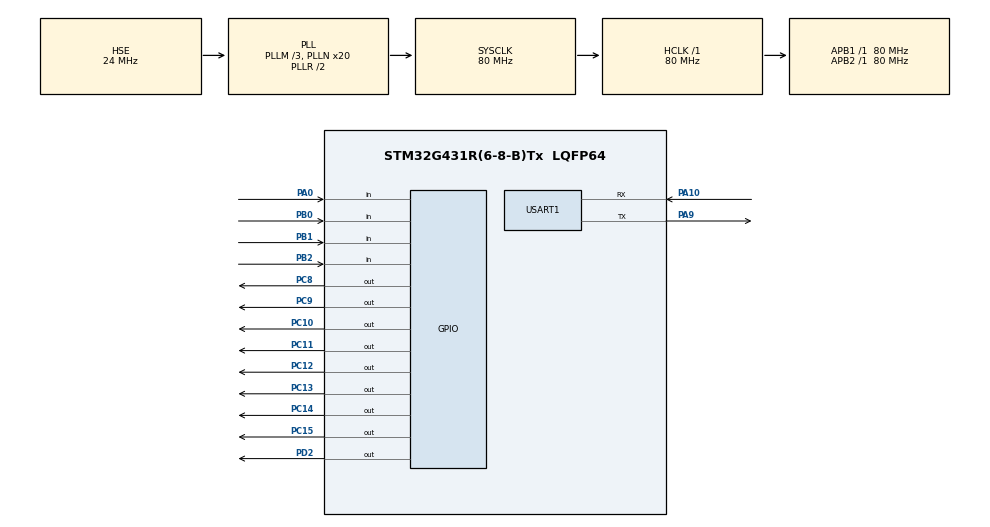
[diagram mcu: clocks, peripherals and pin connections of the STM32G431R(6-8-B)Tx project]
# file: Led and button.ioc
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Mcu.Family=STM32G4
Mcu.Name=STM32G431R(6-8-B)Tx
Mcu.Package=LQFP64
NVIC.PriorityGroup=NVIC_PRIORITYGROUP_4
NVIC.USART1_IRQn=true\:0\:0\:false\:false\:true\:true\:true\:true
PA0.Signal=GPIO_Input
PA10.Mode=Asynchronous
PA10.Signal=USART1_RX
PA13.Mode=Serial_Wire
PA13.Signal=SYS_JTMS-SWDIO
PA14.Mode=Serial_Wire
PA14.Signal=SYS_JTCK-SWCLK
PA9.Mode=Asynchronous
PA9.Signal=USART1_TX
PB0.Signal=GPIO_Input
PB1.Signal=GPIO_Input
PB2.Signal=GPIO_Input
PC10.GPIO_ModeDefaultOutputPP=GPIO_MODE_OUTPUT_PP
PC10.GPIO_PuPd=GPIO_NOPULL
PC10.GPIO_Speed=GPIO_SPEED_FREQ_LOW
PC10.PinState=GPIO_PIN_SET
PC10.Signal=GPIO_Output
PC11.GPIO_ModeDefaultOutputPP=GPIO_MODE_OUTPUT_PP
PC11.GPIO_PuPd=GPIO_NOPULL
PC11.GPIO_Speed=GPIO_SPEED_FREQ_LOW
PC11.PinState=GPIO_PIN_SET
PC11.Signal=GPIO_Output
PC12.GPIO_ModeDefaultOutputPP=GPIO_MODE_OUTPUT_PP
PC12.GPIO_PuPd=GPIO_NOPULL
PC12.GPIO_Speed=GPIO_SPEED_FREQ_LOW
PC12.PinState=GPIO_PIN_SET
PC12.Signal=GPIO_Output
PC13.GPIO_ModeDefaultOutputPP=GPIO_MODE_OUTPUT_PP
PC13.GPIO_PuPd=GPIO_NOPULL
PC13.GPIO_Speed=GPIO_SPEED_FREQ_LOW
PC13.PinState=GPIO_PIN_SET
PC13.Signal=GPIO_Output
PC14-OSC32_IN.GPIO_ModeDefaultOutputPP=GPIO_MODE_OUTPUT_PP
PC14-OSC32_IN.GPIO_PuPd=GPIO_NOPULL
PC14-OSC32_IN.GPIO_Speed=GPIO_SPEED_FREQ_LOW
PC14-OSC32_IN.PinState=GPIO_PIN_SET
PC14-OSC32_IN.Signal=GPIO_Output
PC15-OSC32_OUT.GPIO_ModeDefaultOutputPP=GPIO_MODE_OUTPUT_PP
PC15-OSC32_OUT.GPIO_PuPd=GPIO_NOPULL
PC15-OSC32_OUT.GPIO_Speed=GPIO_SPEED_FREQ_LOW
PC15-OSC32_OUT.PinState=GPIO_PIN_SET
PC15-OSC32_OUT.Signal=GPIO_Output
PC8.GPIO_ModeDefaultOutputPP=GPIO_MODE_OUTPUT_PP
PC8.GPIO_PuPd=GPIO_NOPULL
PC8.GPIO_Speed=GPIO_SPEED_FREQ_LOW
PC8.PinState=GPIO_PIN_SET
PC8.Signal=GPIO_Output
PC9.GPIO_ModeDefaultOutputPP=GPIO_MODE_OUTPUT_PP
PC9.GPIO_PuPd=GPIO_NOPULL
PC9.GPIO_Speed=GPIO_SPEED_FREQ_LOW
PC9.PinState=GPIO_PIN_SET
PC9.Signal=GPIO_Output
PD2.Signal=GPIO_Output
PF0-OSC_IN.Mode=HSE-External-Oscillator
PF0-OSC_IN.Signal=RCC_OSC_IN
PF1-OSC_OUT.Mode=HSE-External-Oscillator
PF1-OSC_OUT.Signal=RCC_OSC_OUT
ProjectManager.HeapSize=0x200
ProjectManager.StackSize=0x400
ProjectManager.TargetToolchain=MDK-ARM V5.32
RCC.ADC12Freq_Value=80000000
RCC.AHBFreq_Value=80000000
RCC.APB1Freq_Value=80000000
RCC.APB1TimFreq_Value=80000000
RCC.APB2Freq_Value=80000000
RCC.APB2TimFreq_Value=80000000
RCC.CortexFreq_Value=80000000
RCC.EXTERNAL_CLOCK_VALUE=12288000
RCC.HCLKFreq_Value=80000000
RCC.HSE_VALUE=24000000
RCC.HSI48_VALUE=48000000
RCC.HSI_VALUE=16000000
RCC.LSE_VALUE=32768
RCC.PLLM=RCC_PLLM_DIV3
RCC.PLLN=20
RCC.PLLSourceVirtual=RCC_PLLSOURCE_HSE
RCC.SYSCLKFreq_VALUE=80000000
RCC.SYSCLKSource=RCC_SYSCLKSOURCE_PLLCLK
RCC.USBFreq_Value=80000000
RCC.VCOOutputFreq_Value=160000000
USART1.VirtualMode-Asynchronous=VM_ASYNC
VP_SYS_VS_DBSignals.Mode=DisableDeadBatterySignals
board=custom

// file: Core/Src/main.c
/* USER CODE BEGIN Header */
/**
  ******************************************************************************
  * @file           : main.c
  * @brief          : Main program body
  ******************************************************************************
  * @attention
  *
  * Copyright (c) 2023 STMicroelectronics.
  * All rights reserved.
  *
  * This software is licensed under terms that can be found in the LICENSE file
  * in the root directory of this software component.
  * If no LICENSE file comes with this software, it is provided AS-IS.
  *
  ******************************************************************************
  */
/* USER CODE END Header */
#include "main.h"
#include "usart.h"
#include "gpio.h"

#include <string.h>
#include <stdio.h>

/* USER CODE BEGIN PTD */
//uint8_t Rx,Tx = 0;
#define B1_LED 0x01
#define B2_LED 0x02
#define B3_LED 0x04
#define B4_LED 0x08
uint8_t gucLed = 0;

u8 KeyValue;        //0-初始， 1-闪烁， 2-流水
u8 flow_direction = 0;
u32 ShanStick;
u32 FlowStick;
u32 uwTickUart;
u32 keyTime;
u32 uwTick_LED_Speed_nms;
u8 blink_flag = 0;
u8 high_blink_flag = 0;
static uint8_t led_state = 0x00;
u32 uwTick_Blink;
uint8_t key_led_state = 0x00;
uint8_t key_led_state1 = 0x00;
char HelloStr[] = "Hello world\r\n";
char Ackon[] = "LED on ok\r\n";
char Ackoff[] = "LED off ok\r\n";

char Ackerr[] = "Error\r\n";

char Ackblink[] = "blink ok\r\n";
char Ackflow[]  = "flow ok\r\n";

char flowleft[] = "f left\r\n";
char Ackflowleft[] ="flow left ok\r\n";

char flowRht[] = "f right\r\n";
char AckRhtleft[] ="flow Right ok\r\n";

static uint8_t gLedBitL;
static uint8_t gLedBitR;

int gTickBlink;

/* USER CODE END PTD */

/* USER CODE BEGIN PV */
uint8_t enable_flow = 0;
uint8_t enable_blink = 0;
uint32_t blink_timer = 0;
uint8_t blink_state = 0;
uint8_t blink_mask = 0xF0;
uint32_t flow_interval = 500;
uint32_t blink_interval = 200;

/* USER CODE END PV */

void SystemClock_Config(void);
/* USER CODE BEGIN PFP */
void Rx_Process(void);

void LED_Disp(volatile uint8_t Led_num);
void LED_DispSingle(uint8_t Led_num);

uint8_t FlowLedLeft_app(volatile uint8_t Led_Bit);
uint8_t FlowLedRh_app(volatile uint8_t Led_Bit);

void ALL0FF_LED();
void LED_Shine(uint8_t Led_num);
/* USER CODE END PFP */

int main(void)
{
  /* USER CODE BEGIN 1 */
gLedBitL = LEDFLOWLB;
gLedBitR = LEDFLOWRB;
  /* USER CODE END 1 */

  /* MCU Configuration--------------------------------------------------------*/

  /* Reset of all peripherals, Initializes the Flash interface and the Systick. */
  HAL_Init();

  /* Configure the system clock */
  SystemClock_Config();

  /* Initialize all configured peripherals */
  MX_GPIO_Init();
  MX_USART1_UART_Init();
  /* USER CODE BEGIN 2 */
  HAL_UART_Receive_IT(&huart1,&aRX,1);

//  for(u8 i=0;i<20;i++)
//  {
//        Rx_Buff[i] = 0;
//  }
//  gLedBitL = LEDFLOWLB;
//  gLedBitR = LEDFLOWRB;
//  Rx_flg =0;
//  Rx_cnt =0;
//  KeyValue  = 0;
  //gAppState = 1;
  HAL_Delay(200);
  memset(Rx_Buff, 0x00, sizeof(Rx_Buff));
  ALL0FF_LED();
	uwTick_Blink = uwTick;
  HAL_UART_Transmit(&huart1,(u8 *) HelloStr, strlen(HelloStr), 0xffff);

//  Led_Disp(0X00);
//  gTickBlink = 500;
//  Rx = USART1->RDR;
//  __HAL_UART_CLEAR_NEFLAG(&huart1);

  /* USER CODE END 2 */

  /* Infinite loop */
  /* USER CODE BEGIN WHILE */

  while (1)
  {

      HAL_Delay(10);
      Rx_Process();
			uint8_t flow_led = 0;
			uint8_t blink_led = 0;
			if(!((uwTick - keyTime)<10))   {
				keyTime = uwTick;
				KeyValue= key_scanf();
				}
      if(KeyValue==1){
				key_led_state=1;
			}else if(KeyValue==2){
				key_led_state=2;
			}else if(KeyValue==3){
				key_led_state1=3;
			}else if(KeyValue==4){
				key_led_state1=4;
			}

			switch(key_led_state){
				 case 1:
					  gLedBitL = FlowLedLeft_app(gLedBitL);
            flow_led = gLedBitL;
					break;
				 case 2:
						gLedBitR = FlowLedRh_app(gLedBitR);
            flow_led = gLedBitR;
					 break;

				 default:
					 break;

			 }
			switch(key_led_state1){
				case 3:
					 App_Low4Blink(blink_interval);
						blink_led = blink_state ? blink_mask : 0;
					 break;
				 case 4:
						blink_led=0;
					 break;
				 default:
					 break;

			}

			if (enable_flow) {
        if (flow_direction == 1) {
            gLedBitL = FlowLedLeft_app(gLedBitL);
            flow_led = gLedBitL;
        } else if (flow_direction == 2) {
            gLedBitR = FlowLedRh_app(gLedBitR);
            flow_led = gLedBitR;
        }
			}

				if (enable_blink) {
						App_Low4Blink(blink_interval);
						blink_led = blink_state ? blink_mask : 0;
				}

				uint8_t total_led = flow_led | blink_led ;
				LED_Disp(total_led);

    /* USER CODE END WHILE */

  }
}

void SystemClock_Config(void)
{
  RCC_OscInitTypeDef RCC_OscInitStruct = {0};
  RCC_ClkInitTypeDef RCC_ClkInitStruct = {0};

  /** Configure the main internal regulator output voltage
  */
  HAL_PWREx_ControlVoltageScaling(PWR_REGULATOR_VOLTAGE_SCALE1);

  /** Initializes the RCC Oscillators according to the specified parameters
  * in the RCC_OscInitTypeDef structure.
  */
  RCC_OscInitStruct.OscillatorType = RCC_OSCILLATORTYPE_HSE;
  RCC_OscInitStruct.HSEState = RCC_HSE_ON;
  RCC_OscInitStruct.PLL.PLLState = RCC_PLL_ON;
  RCC_OscInitStruct.PLL.PLLSource = RCC_PLLSOURCE_HSE;
  RCC_OscInitStruct.PLL.PLLM = RCC_PLLM_DIV3;
  RCC_OscInitStruct.PLL.PLLN = 20;
  RCC_OscInitStruct.PLL.PLLP = RCC_PLLP_DIV2;
  RCC_OscInitStruct.PLL.PLLQ = RCC_PLLQ_DIV2;
  RCC_OscInitStruct.PLL.PLLR = RCC_PLLR_DIV2;
  if (HAL_RCC_OscConfig(&RCC_OscInitStruct) != HAL_OK)
  {
    Error_Handler();
  }

  /** Initializes the CPU, AHB and APB buses clocks
  */
  RCC_ClkInitStruct.ClockType = RCC_CLOCKTYPE_HCLK|RCC_CLOCKTYPE_SYSCLK
                              |RCC_CLOCKTYPE_PCLK1|RCC_CLOCKTYPE_PCLK2;
  RCC_ClkInitStruct.SYSCLKSource = RCC_SYSCLKSOURCE_PLLCLK;
  RCC_ClkInitStruct.AHBCLKDivider = RCC_SYSCLK_DIV1;
  RCC_ClkInitStruct.APB1CLKDivider = RCC_HCLK_DIV1;
  RCC_ClkInitStruct.APB2CLKDivider = RCC_HCLK_DIV1;

  if (HAL_RCC_ClockConfig(&RCC_ClkInitStruct, FLASH_LATENCY_2) != HAL_OK)
  {
    Error_Handler();
  }
}

/* USER CODE BEGIN 4 */

void Rx_Process(void)
{
     if(Rx_flg ==1)
      {

        if (!strcmp((char*)Rx_Buff, "left\r\n")) {
            enable_flow = 1;
            flow_direction = 1;
            HAL_UART_Transmit(&huart1, (u8*)Ackflowleft, strlen(Ackflowleft), 0xffff);
        }
				else if (!strcmp((char*)Rx_Buff, "meanwhile blink flow\r\n")) {
                enable_flow = 1;
								flow_direction = 1;
								enable_blink = 1;
                HAL_UART_Transmit(&huart1, (u8*)"meanwhile ok\r\n", strlen("meanwhile ok\r\n"), 0xffff);
            }

        else if (!strcmp((char*)Rx_Buff, "right\r\n")) {
            enable_flow = 1;
            flow_direction = 2;
            HAL_UART_Transmit(&huart1, (u8*)AckRhtleft, strlen(AckRhtleft), 0xffff);
        }

        else if (!strcmp((char*)Rx_Buff, "stop_flow\r\n")) {
            enable_flow = 0;
            HAL_UART_Transmit(&huart1, (u8*)"flow stopped\r\n", 13, 0xffff);
        }

        else if (!strcmp((char*)Rx_Buff, "stop_blink\r\n")) {
            enable_blink = 0;
            blink_state = 0;
            HAL_UART_Transmit(&huart1, (u8*)"blink stopped\r\n", 15, 0xffff);
        }
				else if (strstr((char*)Rx_Buff, "blink") != NULL) {
            uint32_t new_freq;
            if (sscanf((char*)Rx_Buff, "blink %u", &new_freq) == 1) {

                    blink_interval = new_freq;
                    enable_blink = 1;

                    HAL_UART_Transmit(&huart1, (u8*)"Order ok\r\n", strlen("Order ok\r\n"), 0xffff);
						}

            else if (!strcmp((char*)Rx_Buff, "blink\r\n")) {
                enable_blink = 1;
                HAL_UART_Transmit(&huart1, (u8*)"blink started\r\n", strlen("blink started\r\n"), 0xffff);
            }

        }else if (strstr((char*)Rx_Buff, "flow") != NULL) {
            uint32_t new_freq;
            if (sscanf((char*)Rx_Buff, "flow %u", &new_freq) == 1) {

                    flow_interval = new_freq;
                    enable_flow = 1;

                    HAL_UART_Transmit(&huart1, (u8*)"Order ok\r\n", strlen("Order ok\r\n"), 0xffff);
						}
					}else if (!strcmp((char*)Rx_Buff, "OFF\r\n")) {

								key_led_state=0;
								key_led_state1=0;
								enable_blink = 0;
								blink_state = 0;
								enable_flow = 0;
                HAL_UART_Transmit(&huart1, (u8*)"OFF\r\n", strlen("OFF\r\n"), 0xffff);
            }

           //Error
           else{
               HAL_UART_Transmit(&huart1,(u8 *) Ackerr, strlen(Ackerr), 0xffff);
					 }
          //Clear Rx_Buff
            memset(Rx_Buff,0x00, 256);
            Rx_cnt =0;
            Rx_flg =0;

}

}
/*
APP任务周期：循环时间500ms
APP任务名：FlowLedLeft_app；流水灯左移
入口：LedBit-开始位。      宏LEDFLOWLE-结束位，  方向<<L
出口：当前流动的位Led_Bit
功能：控制几位LED流水灯，控制方向，向左，

*/
uint8_t FlowLedLeft_app(volatile uint8_t Led_Bit)
{

    //Led_Bit = Led_Bit;
    if((uwTick - uwTick_LED_Speed_nms)<flow_interval)   {return Led_Bit;}
        uwTick_LED_Speed_nms = uwTick;

    LED_Disp(Led_Bit);
    //LED_DispSingle(0x80);    //点亮一个led，0x80-LD8  0x01-LD1,0x00-熄灭。函数可以加一个参数Single_Bit
    //HAL_Delay(200);
    Led_Bit = Led_Bit<<1;
    if(Led_Bit == LEDFLOWLE)   Led_Bit =LEDFLOWLB;
    return  Led_Bit;

}
/*
APP任务周期：循环时间500ms
APP任务名：流水灯右移
入口：LedBit-开始位。      宏LEDFLOWRE-结束位，  方向 >>R
出口：当前流动的位Led_Bit
功能：控制几位LED流水灯，控制方向，向右
       app任务循环时间100ms
*/
uint8_t FlowLedRh_app(volatile uint8_t Led_Bit)
{

    //Led_Bit = Led_Bit;
    if((uwTick - uwTick_LED_Speed_nms)<flow_interval)   {return Led_Bit;}
    uwTick_LED_Speed_nms = uwTick;

    LED_Disp(Led_Bit);
    //LED_DispSingle(0x01); 	//点亮一个led，0x80-LD8  0x01-LD1,0x00-熄灭。函数可以加一个参数Single_Bit
    //HAL_Delay(300);
    Led_Bit = Led_Bit>>1;
    if(Led_Bit == LEDFLOWRE)   Led_Bit =LEDFLOWRB;
    return  Led_Bit;

}
//任务周期：500ms
//任务名：
//功能：低4个灯闪烁
//入口：无
//出口：无
void App_Low4Blink(int interval)
{
    static  u8 BlinkBit = 0xF0;
    if (uwTick - blink_timer < interval) {
        return; // ??????,????
    }
    blink_timer = uwTick;       // ?????
    blink_state ^= 1;

}

//函数名：LED_Disp
//入口：uint8_t Led_num
//出口：void
//功能：先熄灭所有灯，led_num 的D0—D7对应LD1-LD8点亮,0x01-LD1;0x02-LD2;..   0x10-LD5;0x20--LD6...

void LED_Disp(volatile uint8_t Led_num)
{
    /*熄灭全部LED 必须*/
    HAL_GPIO_WritePin(GPIOC,GPIO_PIN_13|GPIO_PIN_14|GPIO_PIN_15|GPIO_PIN_8|GPIO_PIN_9|GPIO_PIN_10|GPIO_PIN_11|GPIO_PIN_12,GPIO_PIN_SET);
    UNLOCKLED;
    LOCKLED;
    //点亮某几个LED
    HAL_GPIO_WritePin(GPIOC,Led_num<<8,GPIO_PIN_RESET);
    UNLOCKLED;
    LOCKLED;
}

//函数名：LED_DispSingle
//入口：uint8_t Led_num
//出口：void
//功能：只点亮，led_num 的D0—D7对应LD1-LD8点亮,0x01-LD1;0x02-LD2;..   0x10-LD5;0x20--LD6...

void LED_DispSingle(uint8_t Led_num)
{

    //点亮某LED
    HAL_GPIO_WritePin(GPIOC,Led_num<<8,GPIO_PIN_RESET);
    UNLOCKLED;
    LOCKLED;
}
//入口：位数1-LD1  2—LD2,4-LD3
//出口
//功能：翻转某位，灯闪烁
void LED_Shine(uint8_t Led_num)
{

    //点亮某LED
    HAL_GPIO_TogglePin(GPIOC,Led_num<<8);
    UNLOCKLED;
    LOCKLED;
}

//熄灭所有灯
void ALL0FF_LED()
{
    /*熄灭全部LED*/
    HAL_GPIO_WritePin(GPIOC,GPIO_PIN_13|GPIO_PIN_14|GPIO_PIN_15|GPIO_PIN_8|GPIO_PIN_9|GPIO_PIN_10|GPIO_PIN_11|GPIO_PIN_12,GPIO_PIN_SET);
    UNLOCKLED;
    LOCKLED;
    //点亮某LED
//    HAL_GPIO_WritePin(GPIOC,Led_num<<8,GPIO_PIN_RESET);
//    UNLOCKLED;
//    LOCKLED;
}

/* USER CODE END 4 */

void Error_Handler(void)
{
  __disable_irq();
  while (1)
  {
  }
}
